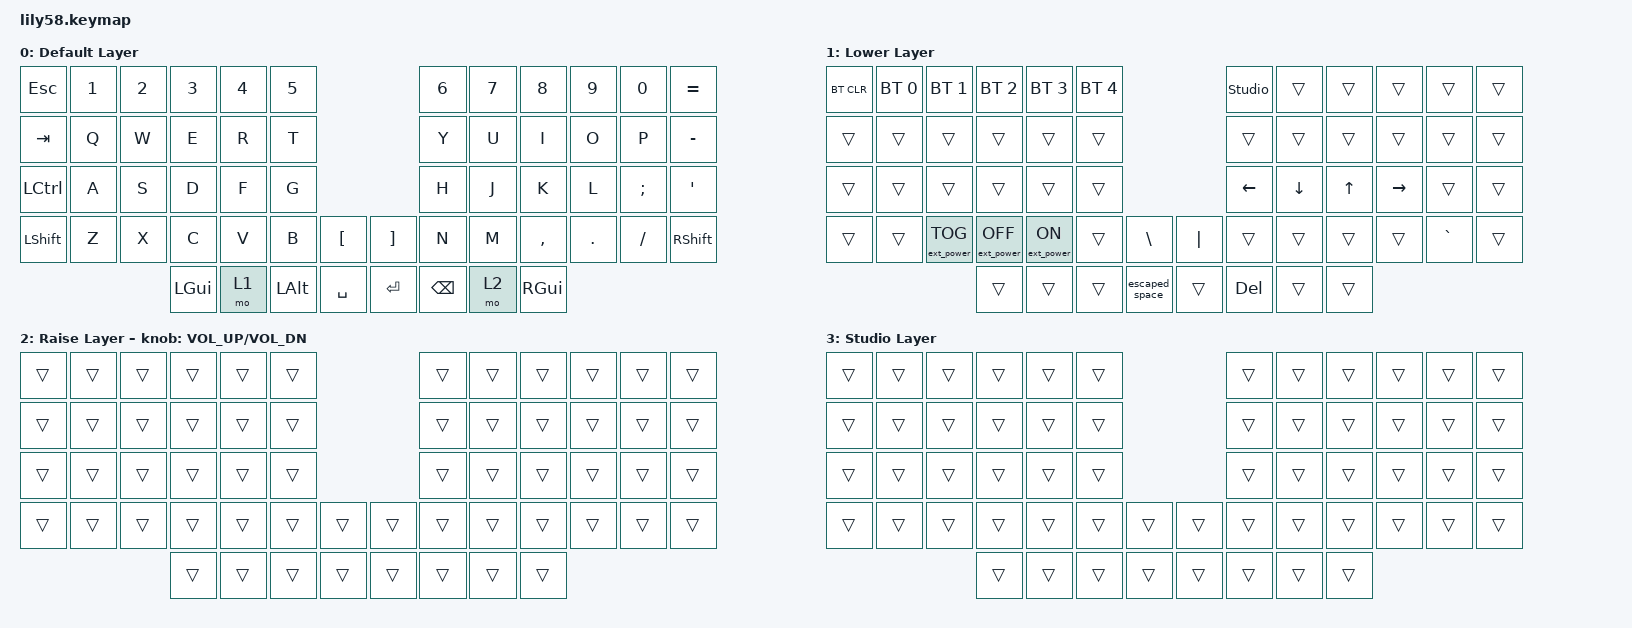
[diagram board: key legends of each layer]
/*
 * Copyright (c) 2020 The ZMK Contributors
 *
 * SPDX-License-Identifier: MIT
 */

#include <behaviors.dtsi>
#include <dt-bindings/zmk/bt.h>
#include <dt-bindings/zmk/ext_power.h>
#include <dt-bindings/zmk/keys.h>

&nice_view_spi { cs-gpios = <&pro_micro 4 GPIO_ACTIVE_HIGH>; };

/ {
    macros {
        escaped_space: escaped_space {
            compatible = "zmk,behavior-macro";
            #binding-cells = <0>;
            bindings = <&kp BACKSLASH &kp SPACE>;
            label = "ESCAPED_SPACE";
        };
    };

    keymap {
        compatible = "zmk,keymap";

        default_layer {
            display-name = "Default Layer";

            // ------------------------------------------------------------------------------------------------------------
            // |  ESC  |  1  |  2  |  3   |  4   |  5   |                   |  6   |  7    |  8    |  9   |   0   |   `   |
            // |  TAB  |  Q  |  W  |  E   |  R   |  T   |                   |  Y   |  U    |  I    |  O   |   P   |   -   |
            // |  CTRL |  A  |  S  |  D   |  F   |  G   |                   |  H   |  J    |  K    |  L   |   ;   |   '   |
            // | SHIFT |  Z  |  X  |  C   |  V   |  B   |   "["  |  |  "]"  |  N   |  M    |  ,    |  .   |   /   | SHIFT |
            //                     | ALT  | GUI  | LOWER|  SPACE |  | ENTER | RAISE| BSPC  | GUI   |

            bindings = <
&kp ESC    &kp N1  &kp N2  &kp N3    &kp N4  &kp N5                           &kp N6    &kp N7  &kp N8     &kp N9   &kp N0    &kp EQUAL
&kp TAB    &kp Q   &kp W   &kp E     &kp R   &kp T                            &kp Y     &kp U   &kp I      &kp O    &kp P     &kp MINUS
&kp LCTRL  &kp A   &kp S   &kp D     &kp F   &kp G                            &kp H     &kp J   &kp K      &kp L    &kp SEMI  &kp SQT
&kp LSHFT  &kp Z   &kp X   &kp C     &kp V   &kp B     &kp LBKT     &kp RBKT  &kp N     &kp M   &kp COMMA  &kp DOT  &kp FSLH  &kp RSHFT
                           &kp LGUI  &mo 1   &kp LALT  &kp SPACE    &kp RET   &kp BSPC  &mo 2   &kp RGUI
            >;
        };

        lower_layer {
            display-name = "Lower Layer";

            // ------------------------------------------------------------------------------------------------------------
            // | BTCLR | BT1 | BT2 |  BT3 |  BT4 |  BT5 |                   |      |       |       |      |       |       |
            // |       |     |     |      |      |      |                   |      |       |       |      |       |       |
            // |   `   |  !  |  @  |  #   |  $   |  %   |                   |  ^   |  &    |  *    |  (   |   )   |   ~   |
            // |       |     |     |      |      |      |        |  |       |      |  _    |  +    |  {   |   }   |  "|"  |
            //                     |      |      |      |        |  |       |      |       |       |

            bindings = <
&bt BT_CLR  &bt BT_SEL 0  &bt BT_SEL 1       &bt BT_SEL 2       &bt BT_SEL 3      &bt BT_SEL 4                              &studio_unlock  &trans    &trans  &trans     &trans  &trans
&trans      &trans        &trans             &trans             &trans            &trans                                    &trans          &trans    &trans  &trans     &trans  &trans
&trans      &trans        &trans             &trans             &trans            &trans                                    &kp LEFT        &kp DOWN  &kp UP  &kp RIGHT  &trans  &trans
&trans      &trans        &ext_power EP_TOG  &ext_power EP_OFF  &ext_power EP_ON  &trans        &kp BACKSLASH     &kp PIPE  &trans          &trans    &trans  &trans     &kp GRAVE  &trans
                                             &trans             &trans            &trans        &escaped_space    &trans    &kp DEL         &trans    &trans
            >;
        };

        raise_layer {
            display-name = "Raise Layer";

            // ------------------------------------------------------------------------------------------------------------
            // |       |     |     |      |      |      |                   |      |       |       |      |       |       |
            // |   `   |  1  |  2  |  3   |  4   |  5   |                   |  6   |   7   |   8   |  9   |   0   |       |
            // |   F1  |  F2 |  F3 |  F4  |  F5  |  F6  |                   |      |   <-  |   v   |  ^   |  ->   |       |
            // |   F7  |  F8 |  F9 |  F10 |  F11 |  F12 |        |  |       |  +   |   -   |   =   |  [   |   ]   |   \   |
            //                     |      |      |      |        |  |       |      |       |       |

            bindings = <
&trans  &trans  &trans  &trans  &trans  &trans                    &trans  &trans  &trans  &trans  &trans  &trans
&trans  &trans  &trans  &trans  &trans  &trans                    &trans  &trans  &trans  &trans  &trans  &trans
&trans  &trans  &trans  &trans  &trans  &trans                    &trans  &trans  &trans  &trans  &trans  &trans
&trans  &trans  &trans  &trans  &trans  &trans  &trans    &trans  &trans  &trans  &trans  &trans  &trans  &trans
                        &trans  &trans  &trans  &trans    &trans  &trans  &trans  &trans
            >;

            sensor-bindings = <&inc_dec_kp C_VOL_UP C_VOL_DN>;
        };

        studio_layer {
            display-name = "Studio Layer";
            bindings = <
&trans  &trans  &trans  &trans  &trans  &trans                    &trans  &trans  &trans  &trans  &trans  &trans
&trans  &trans  &trans  &trans  &trans  &trans                    &trans  &trans  &trans  &trans  &trans  &trans
&trans  &trans  &trans  &trans  &trans  &trans                    &trans  &trans  &trans  &trans  &trans  &trans
&trans  &trans  &trans  &trans  &trans  &trans  &trans    &trans  &trans  &trans  &trans  &trans  &trans  &trans
                        &trans  &trans  &trans  &trans    &trans  &trans  &trans  &trans
            >;
        };
    };

    conditional_layers {
        compatible = "zmk,conditional-layers";

        tri_layer {
            if-layers = <1 2>;
            then-layer = <3>;
        };
    };
};
